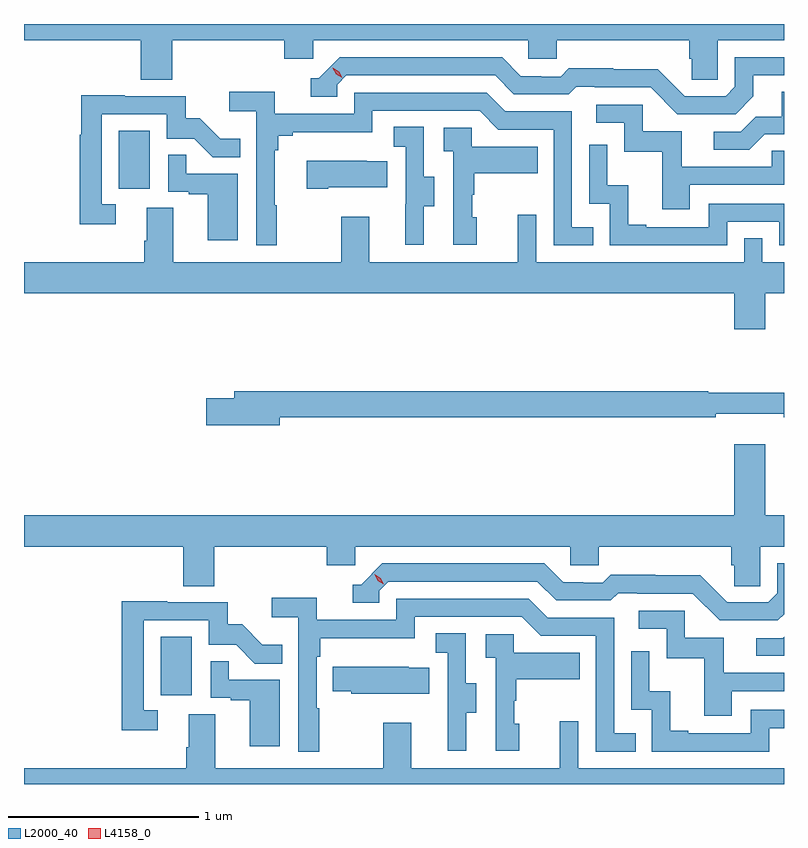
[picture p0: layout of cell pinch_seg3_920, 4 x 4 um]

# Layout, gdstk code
import gdstk
lib = gdstk.Library(unit=1e-6, precision=1e-09)
def R(c, l, rs):  # rectangles x0, y0, x1, y1
    for r in rs: c.add(gdstk.rectangle(r[:2], r[2:], *l))
def P(c, l, *ps):  # polygons
    for p in ps: c.add(gdstk.Polygon(p, *l))
L2000_40 = (2000, 40)
L4158_0 = (4158, 0)

pinch_seg3_920 = lib.new_cell('pinch_seg3_920')
R(pinch_seg3_920, L2000_40, [(881.27,670.83,881.434,671.137), (881.048,673.494,881.212,673.801)])
P(pinch_seg3_920, L2000_40, [(881.33,674.276),(881.921,674.276),(881.921,674.178),(882.072,674.178),(882.072,674.276),(883.203,674.276),(883.203,674.178),(883.353,674.178),(883.353,674.276),(884.051,674.276),(884.051,674.178),(884.065,674.178),(884.065,674.068),(884.202,674.068),(884.202,674.276),(884.55,674.276),(884.55,674.362),(880.55,674.362),(880.55,674.276),(881.165,674.276),(881.165,674.068),(881.33,674.068)],
  [(884.389,673.981),(884.389,674.091),(884.55,674.091),(884.55,674.187),(884.292,674.187),(884.292,674.031),(884.244,673.983),(884.028,673.983),(883.886,674.125),(883.65,674.125),(883.65,674.128),(883.417,674.128),(883.375,674.085),(883.272,674.085),(883.272,674.088),(883.165,674.088),(883.066,674.187),(882.213,674.187),(882.102,674.076),(882.059,674.076),(882.059,673.98),(882.198,673.98),(882.198,674.043),(882.246,674.091),(883.029,674.091),(883.128,673.992),(883.417,673.992),(883.456,674.031),(883.555,674.031),(883.555,674.028),(883.848,674.028),(883.989,673.887),(884.295,673.887)],
  [(884.449,673.782),(884.55,673.782),(884.55,674.006),(884.537,674.006),(884.537,673.874),(884.402,673.874),(884.322,673.794),(884.181,673.794),(884.181,673.701),(884.368,673.701)],
  [(881.881,673.409),(881.869,673.409),(881.869,673.697),(881.888,673.697),(881.888,673.774),(881.965,673.774),(881.965,673.793),(882.384,673.793),(882.384,673.905),(882.948,673.905),(883.047,673.806),(883.338,673.806),(883.338,673.197),(883.547,673.197),(883.547,673.293),(883.434,673.293),(883.434,673.902),(883.084,673.902),(882.985,674.001),(882.288,674.001),(882.288,673.89),(881.87,673.89),(881.87,674.006),(881.631,674.006),(881.631,673.904),(881.772,673.904),(881.772,673.197),(881.881,673.197)],
  [(881.032,673.413),(880.959,673.413),(880.959,673.887),(881.301,673.887),(881.301,673.758),(881.445,673.758),(881.543,673.66),(881.687,673.66),(881.687,673.759),(881.583,673.759),(881.476,673.866),(881.4,673.866),(881.4,673.983),(881.081,673.983),(881.081,673.988),(880.851,673.988),(880.851,673.78),(880.843,673.78),(880.843,673.308),(881.032,673.308)],
  [(884.053,673.515),(884.55,673.515),(884.55,673.695),(884.485,673.695),(884.485,673.611),(884.011,673.611),(884.011,673.797),(883.806,673.797),(883.806,673.938),(883.563,673.938),(883.563,673.842),(883.71,673.842),(883.71,673.689),(883.909,673.689),(883.909,673.386),(884.053,673.386)],
  [(882.655,673.402),(882.709,673.402),(882.709,673.557),(882.654,673.557),(882.654,673.82),(882.495,673.82),(882.495,673.717),(882.558,673.717),(882.558,673.413),(882.557,673.413),(882.557,673.2),(882.655,673.2)],
  [(882.934,673.344),(882.909,673.344),(882.909,673.463),(882.919,673.463),(882.919,673.577),(883.253,673.577),(883.253,673.717),(882.906,673.717),(882.906,673.815),(882.759,673.815),(882.759,673.691),(882.81,673.691),(882.81,673.2),(882.934,673.2)],
  [(884.25,673.32),(884.526,673.32),(884.526,673.197),(884.55,673.197),(884.55,673.416),(884.154,673.416),(884.154,673.293),(883.825,673.293),(883.825,673.306),(883.73,673.306),(883.73,673.514),(883.62,673.514),(883.62,673.726),(883.524,673.726),(883.524,673.416),(883.632,673.416),(883.632,673.197),(884.25,673.197)],
  [(881.674,673.575),(881.405,673.575),(881.405,673.673),(881.31,673.673),(881.31,673.479),(881.417,673.479),(881.417,673.467),(881.516,673.467),(881.516,673.224),(881.674,673.224)],
  [(882.151,673.502),(882.461,673.502),(882.461,673.639),(882.353,673.639),(882.353,673.642),(882.039,673.642),(882.039,673.495),(882.151,673.495)],
  [(884.452,672.944),(884.55,672.944),(884.55,673.108),(884.436,673.108),(884.436,673.235),(884.34,673.235),(884.34,673.108),(883.245,673.108),(883.245,673.357),(883.148,673.357),(883.148,673.108),(882.367,673.108),(882.367,673.348),(882.22,673.348),(882.22,673.108),(881.335,673.108),(881.335,673.394),(881.195,673.394),(881.195,673.22),(881.183,673.22),(881.183,673.108),(880.55,673.108),(880.55,672.944),(884.288,672.944),(884.288,672.756),(884.452,672.756)],
  [(881.896,672.292),(884.192,672.292),(884.192,672.311),(884.548,672.311),(884.548,672.292),(884.55,672.292),(884.55,672.421),(884.15,672.421),(884.15,672.428),(881.657,672.428),(881.657,672.392),(881.508,672.392),(881.508,672.25),(881.896,672.25)],
  [(881.552,671.612),(882.143,671.612),(882.143,671.514),(882.294,671.514),(882.294,671.612),(883.425,671.612),(883.425,671.514),(883.575,671.514),(883.575,671.612),(884.273,671.612),(884.273,671.514),(884.287,671.514),(884.287,671.404),(884.424,671.404),(884.424,671.612),(884.55,671.612),(884.55,671.776),(884.452,671.776),(884.452,672.151),(884.288,672.151),(884.288,671.776),(880.55,671.776),(880.55,671.612),(881.387,671.612),(881.387,671.404),(881.552,671.404)],
  [(884.55,671.256),(884.55,671.523),(884.514,671.523),(884.514,671.367),(884.466,671.319),(884.25,671.319),(884.108,671.461),(883.872,671.461),(883.872,671.464),(883.639,671.464),(883.597,671.421),(883.494,671.421),(883.494,671.424),(883.387,671.424),(883.288,671.523),(882.435,671.523),(882.324,671.412),(882.281,671.412),(882.281,671.316),(882.42,671.316),(882.42,671.379),(882.468,671.427),(883.251,671.427),(883.35,671.328),(883.639,671.328),(883.678,671.367),(883.777,671.367),(883.777,671.364),(884.07,671.364),(884.211,671.223),(884.517,671.223)],
  [(882.103,670.76),(882.09,670.76),(882.09,671.033),(882.11,671.033),(882.11,671.129),(882.606,671.129),(882.606,671.241),(883.17,671.241),(883.269,671.142),(883.56,671.142),(883.56,670.533),(883.769,670.533),(883.769,670.629),(883.656,670.629),(883.656,671.238),(883.306,671.238),(883.207,671.337),(882.51,671.337),(882.51,671.226),(882.092,671.226),(882.092,671.342),(881.853,671.342),(881.853,671.24),(881.994,671.24),(881.994,670.533),(882.103,670.533)],
  [(881.254,670.749),(881.181,670.749),(881.181,671.223),(881.523,671.223),(881.523,671.094),(881.667,671.094),(881.765,670.996),(881.909,670.996),(881.909,671.095),(881.805,671.095),(881.698,671.202),(881.622,671.202),(881.622,671.319),(881.303,671.319),(881.303,671.324),(881.065,671.324),(881.065,670.644),(881.254,670.644)],
  [(884.275,670.851),(884.55,670.851),(884.55,670.947),(884.233,670.947),(884.233,671.133),(884.028,671.133),(884.028,671.274),(883.785,671.274),(883.785,671.178),(883.932,671.178),(883.932,671.025),(884.131,671.025),(884.131,670.722),(884.275,670.722)],
  [(882.877,670.738),(882.931,670.738),(882.931,670.893),(882.876,670.893),(882.876,671.156),(882.717,671.156),(882.717,671.053),(882.78,671.053),(882.78,670.749),(882.779,670.749),(882.779,670.536),(882.877,670.536)],
  [(883.156,670.68),(883.131,670.68),(883.131,670.799),(883.141,670.799),(883.141,670.913),(883.475,670.913),(883.475,671.053),(883.128,671.053),(883.128,671.151),(882.981,671.151),(882.981,671.027),(883.032,671.027),(883.032,670.536),(883.156,670.536)],
  [(884.55,671.136),(884.544,671.13),(884.403,671.13),(884.403,671.037),(884.55,671.037)],
  [(884.472,670.656),(884.55,670.656),(884.55,670.752),(884.376,670.752),(884.376,670.629),(884.047,670.629),(884.047,670.642),(883.952,670.642),(883.952,670.85),(883.842,670.85),(883.842,671.062),(883.746,671.062),(883.746,670.752),(883.854,670.752),(883.854,670.533),(884.472,670.533)],
  [(881.896,670.911),(881.627,670.911),(881.627,671.009),(881.532,671.009),(881.532,670.815),(881.639,670.815),(881.639,670.803),(881.738,670.803),(881.738,670.56),(881.896,670.56)],
  [(882.683,670.975),(882.575,670.975),(882.575,670.978),(882.175,670.978),(882.175,670.849),(882.273,670.849),(882.273,670.838),(882.683,670.838)],
  [(884.55,670.444),(883.467,670.444),(883.467,670.693),(883.37,670.693),(883.37,670.444),(882.589,670.444),(882.589,670.684),(882.442,670.684),(882.442,670.444),(881.557,670.444),(881.557,670.73),(881.417,670.73),(881.417,670.556),(881.405,670.556),(881.405,670.444),(880.55,670.444),(880.55,670.362),(884.55,670.362)])
P(pinch_seg3_920, L4158_0, [(882.443,671.413),(882.412,671.432),(882.396,671.464),(882.396,671.465),(882.396,671.465),(882.427,671.445),(882.444,671.413),(882.444,671.413)],
  [(882.224,674.078),(882.193,674.098),(882.176,674.13),(882.176,674.131),(882.176,674.131),(882.208,674.111),(882.224,674.078),(882.224,674.078)])

lib.write_gds('pinch_seg3_920.gds')
